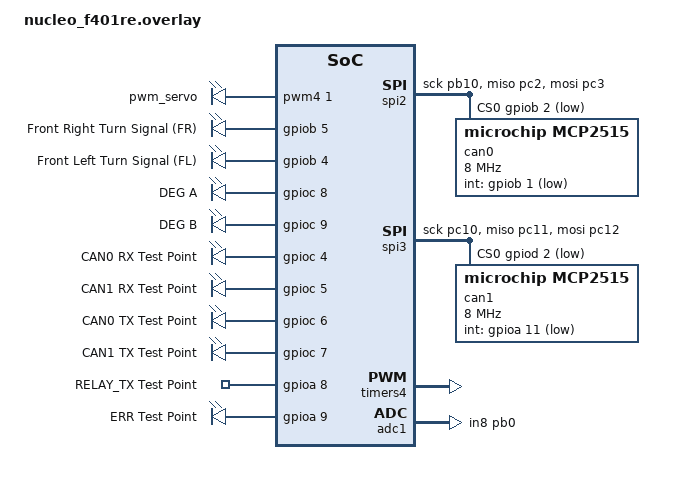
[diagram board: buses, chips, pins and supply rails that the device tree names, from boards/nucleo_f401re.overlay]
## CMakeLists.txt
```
cmake_minimum_required(VERSION 3.20.0)
find_package(Zephyr REQUIRED HINTS $ENV{ZEPHYR_BASE})
project(lab3_steering)

target_sources(app PRIVATE
    src/main.c

    # Pure logic (also built by tests/host)
    src/core/conn_state.c

    # Hardware drivers
    src/hw/servo.c
    src/hw/adc.c
    src/hw/blinkers.c
    src/hw/can.c

    # System tasks
    src/sys/can_rx.c
    src/sys/relay.c
    src/sys/steering.c
    src/sys/blinkers_control.c
    src/sys/hb_tx.c
    src/sys/force_tx.c
    src/sys/hb_mon.c
    src/sys/health.c
    src/sys/debug_status.c
)


target_include_directories(app PRIVATE src)
```

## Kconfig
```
mainmenu "Lab 3 Steering Module Configuration"

source "Kconfig.zephyr"

config APP_DEBUG_LOGGING
    bool "Enable debug printk logging"
    default y
    help
      Enable this option to allow debug logging via printk throughout the application.
```

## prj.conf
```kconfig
CONFIG_GPIO=y
CONFIG_PWM=y
CONFIG_ADC=y
CONFIG_SENSOR=y

# Dual-CAN via MCP2515 over SPI
CONFIG_SPI=y
CONFIG_CAN=y
CONFIG_CAN_INIT_PRIORITY=80

# MCP2515 driver interrupt thread priority and filters
# Priorities (deadline-monotonic, lower = higher):
#   1 CAN RX (driver)  2 RELAY  3 BLINK_F  4 STEER  5 TEST_BTN
#   6 HB_TX  7 HB_MON  8 FORCE_TX  9 WATCHDOG  10 STAT
CONFIG_CAN_MCP2515_INT_THREAD_PRIO=1
CONFIG_CAN_MCP2515_MAX_FILTERS=16

# Set system tick to 1kHz
CONFIG_SYS_CLOCK_TICKS_PER_SEC=1000

# Console on USART2 (ST-Link)
CONFIG_CONSOLE=y
CONFIG_UART_CONSOLE=y
```

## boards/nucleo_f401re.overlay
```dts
/ {
    aliases {
        // Turn Signal LEDs
        led-right = &led_right;
        led-left = &led_left;

        // Steering Servo
        pwm-servo = &pwm_servo;
    };

    servo_pwm {
        compatible = "pwm-leds";
        pwm_servo: pwm_servo {
            pwms = <&pwm4 1 20000000 PWM_POLARITY_NORMAL>; 
        };
    };

    leds {
        compatible = "gpio-leds";

        led_right: right {
            gpios = <&gpiob 5 GPIO_ACTIVE_HIGH>;
            label = "Front Right Turn Signal (FR)";
        };

        led_left: left {
            gpios = <&gpiob 4 GPIO_ACTIVE_HIGH>;
            label = "Front Left Turn Signal (FL)";
        };
    };
};

// ============================================================
// CAN0 (MCP2515 on SPI2)
//   MISO -> PC2, MOSI -> PC3, SCLK -> PB10
//   CS   -> PB2, INT  -> PB1 (falling edge, internal pull-up)
// ============================================================
&spi2 {
    status = "okay";
    pinctrl-0 = <&spi2_sck_pb10 &spi2_miso_pc2 &spi2_mosi_pc3>;
    pinctrl-names = "default";
    cs-gpios = <&gpiob 2 (GPIO_ACTIVE_LOW | GPIO_PULL_UP)>;

    can0: mcp2515@0 {
        compatible = "microchip,mcp2515";
        reg = <0>;
        spi-max-frequency = <8000000>;
        osc-freq = <16000000>;
        int-gpios = <&gpiob 1 (GPIO_ACTIVE_LOW | GPIO_PULL_UP)>;
        bitrate = <500000>;
        status = "okay";
    };
};

// ============================================================
// CAN1 (MCP2515 on SPI3)
//   MISO -> PC11, MOSI -> PC12, SCLK -> PC10
//   CS   -> PD2,  INT  -> PA11 (falling edge, internal pull-up)
// ============================================================
&spi3 {
    status = "okay";
    pinctrl-0 = <&spi3_sck_pc10 &spi3_miso_pc11 &spi3_mosi_pc12>;
    pinctrl-names = "default";
    cs-gpios = <&gpiod 2 (GPIO_ACTIVE_LOW | GPIO_PULL_UP)>;

    can1: mcp2515@0 {
        compatible = "microchip,mcp2515";
        reg = <0>;
        spi-max-frequency = <8000000>;
        osc-freq = <16000000>;
        int-gpios = <&gpioa 11 (GPIO_ACTIVE_LOW | GPIO_PULL_UP)>;
        bitrate = <500000>;
        status = "okay";
    };
};

// Aliases for CAN bus interfaces
/ {
    aliases {
        can-a = &can0;
        can-b = &can1;
    };
};

// Steering PWM Timer
&timers4 {
    status = "okay";
    st,prescaler = <83>;
    
    pwm4: pwm {
        status = "okay";
        pinctrl-0 = <&tim4_ch1_pb6>;
        pinctrl-names = "default";
    };
};

// Current Sensor ADC
&adc1 {
    status = "okay";
    pinctrl-0 = <&adc1_in8_pb0>;
    pinctrl-names = "default";
};

// Degraded-bus status LEDs (R4.7)
/ {
    leds {
        deg_a_led: deg_a {
            gpios = <&gpioc 8 GPIO_ACTIVE_HIGH>;
            label = "DEG A";
        };
        deg_b_led: deg_b {
            gpios = <&gpioc 9 GPIO_ACTIVE_HIGH>;
            label = "DEG B";
        };
        can0_rx_tp: can0_rx {
            gpios = <&gpioc 4 GPIO_ACTIVE_HIGH>;
            label = "CAN0 RX Test Point";
        };
        can1_rx_tp: can1_rx {
            gpios = <&gpioc 5 GPIO_ACTIVE_HIGH>;
            label = "CAN1 RX Test Point";
        };
        can0_tx_tp: can0_tx {
            gpios = <&gpioc 6 GPIO_ACTIVE_HIGH>;
            label = "CAN0 TX Test Point";
        };
        can1_tx_tp: can1_tx {
            gpios = <&gpioc 7 GPIO_ACTIVE_HIGH>;
            label = "CAN1 TX Test Point";
        };
        /* Lab 3 test points (rows 12 and 13 of the N2 test-point board) */
        relay_tx_tp: relay_tx {
            gpios = <&gpioa 8 GPIO_ACTIVE_HIGH>;    /* PA8 = Arduino D7 */
            label = "RELAY_TX Test Point";
        };
        err_tp: err {
            gpios = <&gpioa 9 GPIO_ACTIVE_HIGH>;    /* PA9 = Arduino D8 */
            label = "ERR Test Point";
        };
    };
    aliases {
        deg-a = &deg_a_led;
        deg-b = &deg_b_led;
        can0-rx = &can0_rx_tp;
        can1-rx = &can1_rx_tp;
        can0-tx = &can0_tx_tp;
        can1-tx = &can1_tx_tp;
        relay-tx = &relay_tx_tp;
        err-tp = &err_tp;
    };
};
// PB6 is used by TIM4_CH1 (servo). The board DTS also assigns PB6 to
// USART1 TX and SPI1 CS. Neither is used here (console = USART2,
// CAN = SPI2/SPI3), so disable them to avoid a pin conflict.
&usart1 {
    status = "disabled";
};

&spi1 {
    status = "disabled";
};

// The board DTS enables I2C3 on PA8 (SCL) and PC9 (SDA). PC9 is DEG_B and
// PA8 is RELAY_TX here, and nothing uses I2C3, so disable it.
&i2c3 {
    status = "disabled";
};
```

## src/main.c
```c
#include <zephyr/kernel.h>
#include "hw/servo.h"
#include "hw/adc.h"
#include "hw/blinkers.h"
#include "hw/can.h"
#include "sys/can_rx.h"
#include "sys/relay.h"
#include "sys/steering.h"
#include "sys/blinkers_control.h"
#include "sys/hb_tx.h"
#include "sys/force_tx.h"
#include "sys/hb_mon.h"
#include "sys/health.h"
#include "sys/debug_status.h"
#include "core/log.h"

int main(void)
{
    DEBUG_PRINT("=== Lab 3 N2 (Steering): Initializing ===\n");

    /* ── Hardware layer ──────────────────────────────────── */
    DEBUG_PRINT("[HW] Initializing...\n");
    if (servo_init()    != 0) return -1;
    if (adc_init()      != 0) return -1;
    if (blinkers_init() != 0) return -1;
    if (can_bus_init()  != 0) return -1;

    can_log_state();

    /* ── System tasks (in priority order, lowest number = highest prio) ── */
    DEBUG_PRINT("[SYS] Starting tasks...\n");

    relay_init();            /* prio 2 — RELAY (5 ms check, forwards frames)  */
    can_rx_init();           /* prio 1 (MCP2515 driver thread) — RX dispatch  */
    blinkers_control_init(); /* prio 3 — BLINK_F (front LEDs on BLINK)        */
    steering_init();         /* prio 4 — STEER (servo PWM on CTRL)            */
    health_init();           /* prio 5 — TEST_BTN, prio 9 — watchdog          */
    hb_tx_init();            /* prio 6 — HB_TX (0x101 every 20ms)             */
    hb_mon_init();           /* prio 7 — HB_MON, conn rows, DEG LEDs, ERR     */
    force_tx_init();         /* prio 8 — FORCE_TX (0x300 every 50ms, dummy)   */
    debug_status_init();     /* prio 10 — STAT line per heartbeat (debug)     */

    DEBUG_PRINT("=== Initialization complete. Zephyr scheduler active. ===\n");

    return 0;    /* main() exits; all work happens in the tasks above */
}
```
